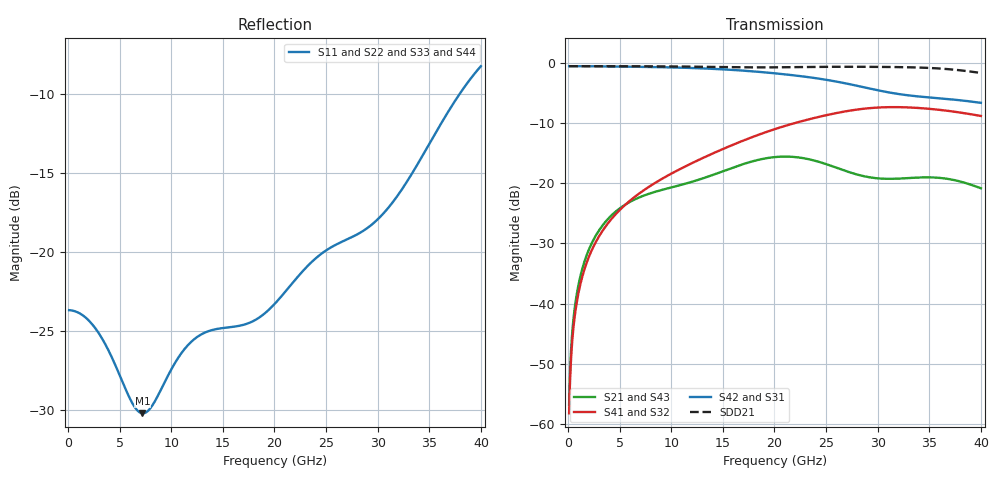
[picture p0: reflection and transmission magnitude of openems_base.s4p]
! E_s8_L1L8_p1000_round_g4: pair L1→L8, pitch 1 mm, two round antipads, 4 GND vias
! stackup: 8-layer 1.6 mm FR-4 (generic)
! ports: 1 P near, 2 N near, 3 P far, 4 N far
! openEMS 0.37.0, staircase, base mesh (dfine 0.035 mm), 768105 cells
# Hz S RI R 50
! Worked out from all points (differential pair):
!   400 points, 100 MHz to 40 GHz, reference 50 ohm
!   strongest paths, dB at 100 MHz, 10.1 GHz, 20.1 GHz, 30.1 GHz, 40 GHz:
!     S42: -0.6, -0.8, -1.8, -4.6, -6.7
!     S31: -0.6, -0.8, -1.8, -4.6, -6.7
!     S41: -58.2, -18.3, -11.0, -7.4, -8.8
!     S32: -58.2, -18.3, -11.0, -7.4, -8.8
!     S21: -56.7, -20.7, -15.7, -19.2, -20.8
!     S43: -56.7, -20.7, -15.7, -19.2, -20.8
!   taken as a pair (ports 2,1 in; 4,3 out), SDD21 dB: -0.6, -0.6, -0.8, -0.7, -1.7
!   lowest |S11| = -30.2 dB at 7.2 GHz (marker M1), VSWR 1.06, Z = 48.8 + j2.78 ohm
!   |S11| at or under -10 dB: start of sweep to 37.95 GHz
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1e8  -0.0653 0.00172  0.000294 0.00143  0.9337 -0.0358  0.000112 -0.00123
     0.000294 0.00143  -0.0653 0.00172  0.000112 -0.00123  0.9337 -0.0358
     0.9337 -0.0358  0.000108 -0.00123  -0.0653 0.00172  0.000292 0.00143
     0.000108 -0.00123  0.9337 -0.0358  0.000292 0.00143  -0.0653 0.00172
7.2e9  -0.0117 0.0285  0.0249 -0.074  -0.8557 -0.3435  -0.0261 0.0817
       0.0249 -0.074  -0.0117 0.0285  -0.0261 0.0817  -0.8557 -0.3435
       -0.8557 -0.3435  -0.0261 0.0817  -0.0117 0.0285  0.0249 -0.074
       -0.0261 0.0817  -0.8557 -0.3435  0.0249 -0.074  -0.0117 0.0285
1.19e10  0.0208 0.0474  -0.1018 -0.00772  -0.1261 0.8939  0.145 0.00828
         -0.1018 -0.00772  0.0208 0.0474  0.145 0.00828  -0.1261 0.8939
         -0.1261 0.8939  0.145 0.00828  0.0208 0.0474  -0.1018 -0.00772
         0.145 0.00828  -0.1261 0.8939  -0.1018 -0.00772  0.0208 0.0474
1.61e10  0.0532 -0.0229  -0.00132 0.1358  0.8656 0.0664  -0.00779 -0.2103
         -0.00132 0.1358  0.0532 -0.0229  -0.00779 -0.2103  0.8656 0.0664
         0.8656 0.0664  -0.00779 -0.2103  0.0532 -0.0229  -0.00132 0.1358
         -0.00779 -0.2103  0.8656 0.0664  -0.00132 0.1358  0.0532 -0.0229
2.37e10  -0.0892 -0.0278  -0.00799 -0.1551  -0.7271 -0.1815  0.0294 0.3436
         -0.00799 -0.1551  -0.0892 -0.0278  0.0294 0.3436  -0.7271 -0.1815
         -0.7271 -0.1815  0.0294 0.3436  -0.0892 -0.0278  -0.00799 -0.1551
         0.0294 0.3436  -0.7271 -0.1815  -0.00799 -0.1551  -0.0892 -0.0278
3.22e10  0.0547 0.145  0.0586 0.0923  0.5388 0.0894  -0.2821 -0.3206
         0.0586 0.0923  0.0547 0.145  -0.2821 -0.3206  0.5388 0.0894
         0.5388 0.0894  -0.2821 -0.3206  0.0547 0.145  0.0586 0.0923
         -0.2821 -0.3206  0.5388 0.0894  0.0586 0.0923  0.0547 0.145
4e10  0.0764 -0.379  -0.0829 -0.037  -0.4324 -0.1684  0.303 0.1964
      -0.0829 -0.037  0.0764 -0.379  0.303 0.1964  -0.4324 -0.1684
      -0.4324 -0.1684  0.303 0.1964  0.0764 -0.379  -0.0829 -0.037
      0.303 0.1964  -0.4324 -0.1684  -0.0829 -0.037  0.0764 -0.379
